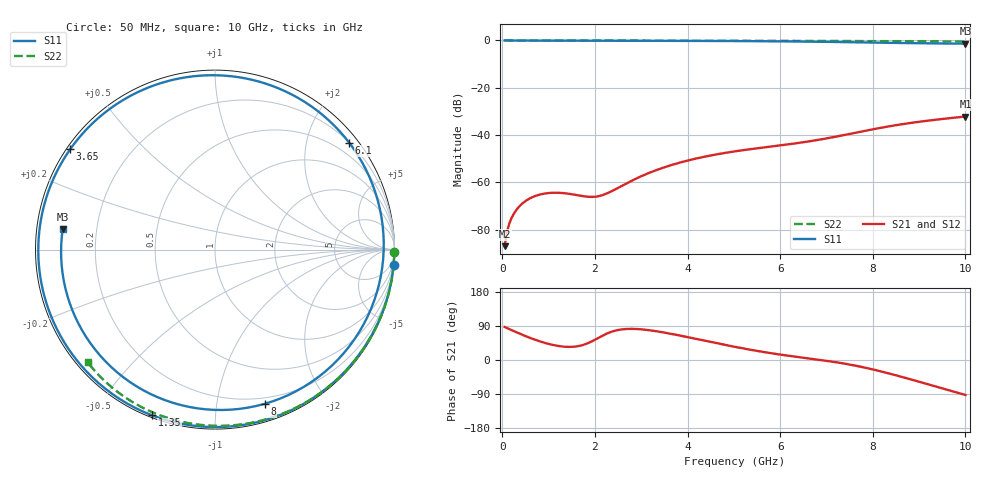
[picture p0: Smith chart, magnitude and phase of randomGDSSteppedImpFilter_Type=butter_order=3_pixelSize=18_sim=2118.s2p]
! freq	dB(S11)	phase(S11)	dB(S12)	phase(S12)
!  dB(S21)	phase(S21)	dB(S22)	phase(S22)
!S-par simulation data
#  GHz  S  DB  R 50
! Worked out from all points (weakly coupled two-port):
!   200 points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, 50 MHz to 10 GHz, reference 50 ohm
!   highest |S21| = -32.18 dB at 10 GHz (marker M1); lowest = -87.0 dB at 50 MHz (marker M2)
!   lowest |S11| = -1.3 dB at 10 GHz (marker M3), VSWR 12.91, Z = 3.89 + j3.27 ohm
!   |S11| at or under -10 dB: nowhere
!   |S22| runs from -0.5 to 0.0 dB; largest |S21 - S12| = 0
!   S11 on the Smith chart (normalised r, x): 50 MHz: 0, -23; 1.35 GHz: 0.01, -0.69; 3.65 GHz: 0.01, +0.31; 6.1 GHz: 0.21, +2.85; 8 GHz: 0.15, -1.36; 10 GHz: 0.08, +0.07
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0.05  -0.00 -4.9  -87.01 87.2  -87.01 87.2  -0.00 -0.8
0.1  -0.01 -9.7  -81.02 84.4  -81.02 84.4  -0.00 -1.6
0.35  -0.05 -33.4  -70.56 70.8  -70.56 70.8  -0.01 -5.6
0.7  -0.08 -64.0  -65.88 53.8  -65.88 53.8  -0.01 -11.2
1  -0.09 -87.3  -64.54 42.4  -64.54 42.4  -0.02 -15.9
1.35  -0.11 -110.8  -64.63 35.0  -64.63 35.0  -0.03 -21.4
1.75  -0.12 -133.7  -65.87 40.0  -65.87 40.0  -0.04 -27.7
2.1  -0.12 -151.1  -65.77 60.1  -65.77 60.1  -0.04 -33.1
2.5  -0.13 -169.0  -62.35 79.1  -62.35 79.1  -0.05 -39.2
3.4  -0.15 154.9  -54.32 74.4  -54.32 74.4  -0.07 -52.6
3.65  -0.16 145.3  -52.72 69.0  -52.72 69.0  -0.08 -56.3
4.4  -0.20 116.0  -49.04 50.2  -49.04 50.2  -0.10 -67.0
5.05  -0.25 88.8  -46.83 34.1  -46.83 34.1  -0.12 -76.0
5.6  -0.32 63.6  -45.37 21.9  -45.37 21.9  -0.14 -83.5
6.1  -0.39 38.5  -44.14 12.6  -44.14 12.6  -0.16 -90.1
6.7  -0.52 5.6  -42.45 2.9  -42.45 2.9  -0.19 -97.9
7.3  -0.67 -29.7  -40.32 -7.7  -40.32 -7.7  -0.23 -105.5
8  -0.89 -72.2  -37.59 -24.9  -37.59 -24.9  -0.28 -114.2
8.35  -1.00 -93.3  -36.33 -35.5  -36.33 -35.5  -0.30 -118.5
8.75  -1.11 -117.0  -35.08 -48.7  -35.08 -48.7  -0.34 -123.4
9.25  -1.24 -145.8  -33.78 -66.0  -33.78 -66.0  -0.39 -129.4
10  -1.35 172.5  -32.18 -92.4  -32.18 -92.4  -0.47 -138.4
